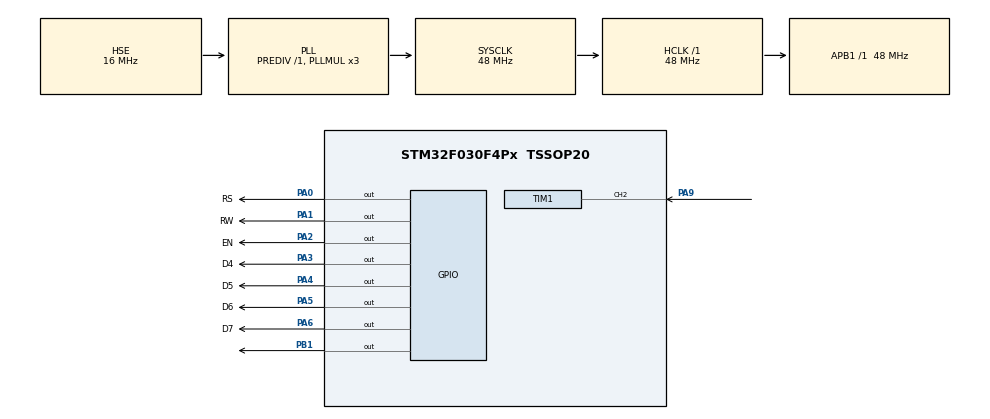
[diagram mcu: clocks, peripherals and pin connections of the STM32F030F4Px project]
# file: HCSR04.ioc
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Mcu.Family=STM32F0
Mcu.Name=STM32F030F4Px
Mcu.Package=TSSOP20
NVIC.TIM1_CC_IRQn=true\:0\:0\:false\:false\:true\:true\:true\:true
PA0.GPIO_Label=RS
PA0.Signal=GPIO_Output
PA1.GPIO_Label=RW
PA1.Signal=GPIO_Output
PA2.GPIO_Label=EN
PA2.Signal=GPIO_Output
PA3.GPIO_Label=D4
PA3.Signal=GPIO_Output
PA4.GPIO_Label=D5
PA4.Signal=GPIO_Output
PA5.GPIO_Label=D6
PA5.Signal=GPIO_Output
PA6.GPIO_Label=D7
PA6.Signal=GPIO_Output
PA9.Signal=S_TIM1_CH2
PB1.Signal=GPIO_Output
PF0-OSC_IN.Mode=HSE-External-Oscillator
PF0-OSC_IN.Signal=RCC_OSC_IN
PF1-OSC_OUT.Mode=HSE-External-Oscillator
PF1-OSC_OUT.Signal=RCC_OSC_OUT
ProjectManager.HeapSize=0x200
ProjectManager.StackSize=0x400
ProjectManager.TargetToolchain=STM32CubeIDE
RCC.AHBFreq_Value=48000000
RCC.APB1Freq_Value=48000000
RCC.APB1TimFreq_Value=48000000
RCC.HCLKFreq_Value=48000000
RCC.HSE_VALUE=16000000
RCC.PLLMUL=RCC_PLL_MUL3
RCC.PLLSourceVirtual=RCC_PLLSOURCE_HSE
RCC.SYSCLKFreq_VALUE=48000000
RCC.SYSCLKSource=RCC_SYSCLKSOURCE_PLLCLK
SH.S_TIM1_CH2.0=TIM1_CH2,Input_Capture2_from_TI2
TIM1.Channel-Input_Capture2_from_TI2=TIM_CHANNEL_2
TIM1.Prescaler=48-1
VP_TIM1_VS_ClockSourceINT.Mode=Internal
board=custom

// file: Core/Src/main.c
/* USER CODE BEGIN Header */
/**
  ******************************************************************************
  * @file           : main.c
  * @brief          : Main program body
  ******************************************************************************
  * @attention
  *
  * Copyright (c) 2024 STMicroelectronics.
  * All rights reserved.
  *
  * This software is licensed under terms that can be found in the LICENSE file
  * in the root directory of this software component.
  * If no LICENSE file comes with this software, it is provided AS-IS.
  *
  ******************************************************************************
  */
/* USER CODE END Header */
#include "main.h"

/* USER CODE BEGIN Includes */
#include "LCD1602.h"
/* USER CODE END Includes */

TIM_HandleTypeDef htim1;

void SystemClock_Config(void);
static void MX_GPIO_Init(void);
static void MX_TIM1_Init(void);

/* USER CODE BEGIN 0 */

void delay_us (uint16_t time)
{
	__HAL_TIM_SET_COUNTER(&htim1, 0);
	while (__HAL_TIM_GET_COUNTER (&htim1) < time);
}

uint32_t IC_Val1 = 0;
uint32_t IC_Val2 = 0;
uint32_t Difference = 0;
uint8_t Is_First_Captured = 0;  // is the first value captured ?
uint8_t Distance  = 0;

#define TRIG_PIN GPIO_PIN_1
#define TRIG_PORT GPIOB

// Let's write the callback function

void HAL_TIM_IC_CaptureCallback(TIM_HandleTypeDef *htim)
{
	if (htim->Channel == HAL_TIM_ACTIVE_CHANNEL_2)  // if the interrupt source is channel2
	{
		if (Is_First_Captured==0) // if the first value is not captured
		{
			IC_Val1 = HAL_TIM_ReadCapturedValue(htim, TIM_CHANNEL_2); // read the first value
			Is_First_Captured = 1;  // set the first captured as true
			// Now change the polarity to falling edge
			__HAL_TIM_SET_CAPTUREPOLARITY(htim, TIM_CHANNEL_2, TIM_INPUTCHANNELPOLARITY_FALLING);
		}

		else if (Is_First_Captured==1)   // if the first is already captured
		{
			IC_Val2 = HAL_TIM_ReadCapturedValue(htim, TIM_CHANNEL_2);  // read second value
			__HAL_TIM_SET_COUNTER(htim, 0);  // reset the counter

			if (IC_Val2 > IC_Val1)
			{
				Difference = IC_Val2-IC_Val1;
			}

			else if (IC_Val1 > IC_Val2)
			{
				Difference = (0xffff - IC_Val1) + IC_Val2;
			}

			/*
			Distance = (Time * Speed)/2;
			speed of sound = 340 m/s = 0.034 cm/us
			Distance = (Time[us] * Speed[cm/us])/2 = distance[us]

			*/

			Distance = Difference * .034/2;
			Is_First_Captured = 0; // set it back to false

			// set polarity to rising edge
			__HAL_TIM_SET_CAPTUREPOLARITY(htim, TIM_CHANNEL_2, TIM_INPUTCHANNELPOLARITY_RISING);
			__HAL_TIM_DISABLE_IT(&htim1, TIM_IT_CC2);
		}
	}
}

void HCSR04_Read (void)
{
	HAL_GPIO_WritePin(TRIG_PORT, TRIG_PIN, GPIO_PIN_SET);  // pull the TRIG pin HIGH
	delay_us(10);  // wait for 10 us
	HAL_GPIO_WritePin(TRIG_PORT, TRIG_PIN, GPIO_PIN_RESET);  // pull the TRIG pin low

	__HAL_TIM_ENABLE_IT(&htim1, TIM_IT_CC2);
}

/* USER CODE END 0 */

int main(void)
{

  /* MCU Configuration--------------------------------------------------------*/

  /* Reset of all peripherals, Initializes the Flash interface and the Systick. */
  HAL_Init();

  /* Configure the system clock */
  SystemClock_Config();

  /* Initialize all configured peripherals */
  MX_GPIO_Init();
  MX_TIM1_Init();
  /* USER CODE BEGIN 2 */
  //lcd_init();
  HAL_TIM_IC_Start_IT(&htim1, TIM_CHANNEL_2);

  HAL_TIM_Base_Start(&htim1);  // Timer On and init this line
  lcd_init();                //LCD init

  lcd_xy(0, 4);   // set curser postion

  LCD_String("Distance");  // Print String
  /* USER CODE END 2 */

  /* Infinite loop */
  while (1)
  {

    /* USER CODE BEGIN 3 */
	  HCSR04_Read ();
	  lcd_xy(1, 7);
	  LCD_intValue(Distance);
	  HAL_Delay(500);
  }
  /* USER CODE END 3 */
}

void SystemClock_Config(void)
{
  RCC_OscInitTypeDef RCC_OscInitStruct = {0};
  RCC_ClkInitTypeDef RCC_ClkInitStruct = {0};

  /** Initializes the RCC Oscillators according to the specified parameters
  * in the RCC_OscInitTypeDef structure.
  */
  RCC_OscInitStruct.OscillatorType = RCC_OSCILLATORTYPE_HSE;
  RCC_OscInitStruct.HSEState = RCC_HSE_ON;
  RCC_OscInitStruct.PLL.PLLState = RCC_PLL_ON;
  RCC_OscInitStruct.PLL.PLLSource = RCC_PLLSOURCE_HSE;
  RCC_OscInitStruct.PLL.PLLMUL = RCC_PLL_MUL3;
  RCC_OscInitStruct.PLL.PREDIV = RCC_PREDIV_DIV1;
  if (HAL_RCC_OscConfig(&RCC_OscInitStruct) != HAL_OK)
  {
    Error_Handler();
  }

  /** Initializes the CPU, AHB and APB buses clocks
  */
  RCC_ClkInitStruct.ClockType = RCC_CLOCKTYPE_HCLK|RCC_CLOCKTYPE_SYSCLK
                              |RCC_CLOCKTYPE_PCLK1;
  RCC_ClkInitStruct.SYSCLKSource = RCC_SYSCLKSOURCE_PLLCLK;
  RCC_ClkInitStruct.AHBCLKDivider = RCC_SYSCLK_DIV1;
  RCC_ClkInitStruct.APB1CLKDivider = RCC_HCLK_DIV1;

  if (HAL_RCC_ClockConfig(&RCC_ClkInitStruct, FLASH_LATENCY_1) != HAL_OK)
  {
    Error_Handler();
  }
}

static void MX_TIM1_Init(void)
{

  TIM_ClockConfigTypeDef sClockSourceConfig = {0};
  TIM_MasterConfigTypeDef sMasterConfig = {0};
  TIM_IC_InitTypeDef sConfigIC = {0};

  htim1.Instance = TIM1;
  htim1.Init.Prescaler = 48-1;
  htim1.Init.CounterMode = TIM_COUNTERMODE_UP;
  htim1.Init.Period = 65535;
  htim1.Init.ClockDivision = TIM_CLOCKDIVISION_DIV1;
  htim1.Init.RepetitionCounter = 0;
  htim1.Init.AutoReloadPreload = TIM_AUTORELOAD_PRELOAD_DISABLE;
  if (HAL_TIM_Base_Init(&htim1) != HAL_OK)
  {
    Error_Handler();
  }
  sClockSourceConfig.ClockSource = TIM_CLOCKSOURCE_INTERNAL;
  if (HAL_TIM_ConfigClockSource(&htim1, &sClockSourceConfig) != HAL_OK)
  {
    Error_Handler();
  }
  if (HAL_TIM_IC_Init(&htim1) != HAL_OK)
  {
    Error_Handler();
  }
  sMasterConfig.MasterOutputTrigger = TIM_TRGO_RESET;
  sMasterConfig.MasterSlaveMode = TIM_MASTERSLAVEMODE_DISABLE;
  if (HAL_TIMEx_MasterConfigSynchronization(&htim1, &sMasterConfig) != HAL_OK)
  {
    Error_Handler();
  }
  sConfigIC.ICPolarity = TIM_INPUTCHANNELPOLARITY_RISING;
  sConfigIC.ICSelection = TIM_ICSELECTION_DIRECTTI;
  sConfigIC.ICPrescaler = TIM_ICPSC_DIV1;
  sConfigIC.ICFilter = 0;
  if (HAL_TIM_IC_ConfigChannel(&htim1, &sConfigIC, TIM_CHANNEL_2) != HAL_OK)
  {
    Error_Handler();
  }

}

static void MX_GPIO_Init(void)
{
  GPIO_InitTypeDef GPIO_InitStruct = {0};

  /* GPIO Ports Clock Enable */
  __HAL_RCC_GPIOF_CLK_ENABLE();
  __HAL_RCC_GPIOA_CLK_ENABLE();
  __HAL_RCC_GPIOB_CLK_ENABLE();

  /*Configure GPIO pin Output Level */
  HAL_GPIO_WritePin(GPIOA, RS_Pin|RW_Pin|EN_Pin|D4_Pin
                          |D5_Pin|D6_Pin|D7_Pin, GPIO_PIN_RESET);

  /*Configure GPIO pin Output Level */
  HAL_GPIO_WritePin(GPIOB, GPIO_PIN_1, GPIO_PIN_RESET);

  /*Configure GPIO pins : RS_Pin RW_Pin EN_Pin D4_Pin
                           D5_Pin D6_Pin D7_Pin */
  GPIO_InitStruct.Pin = RS_Pin|RW_Pin|EN_Pin|D4_Pin
                          |D5_Pin|D6_Pin|D7_Pin;
  GPIO_InitStruct.Mode = GPIO_MODE_OUTPUT_PP;
  GPIO_InitStruct.Pull = GPIO_NOPULL;
  GPIO_InitStruct.Speed = GPIO_SPEED_FREQ_LOW;
  HAL_GPIO_Init(GPIOA, &GPIO_InitStruct);

  /*Configure GPIO pin : PB1 */
  GPIO_InitStruct.Pin = GPIO_PIN_1;
  GPIO_InitStruct.Mode = GPIO_MODE_OUTPUT_PP;
  GPIO_InitStruct.Pull = GPIO_NOPULL;
  GPIO_InitStruct.Speed = GPIO_SPEED_FREQ_LOW;
  HAL_GPIO_Init(GPIOB, &GPIO_InitStruct);

}

void Error_Handler(void)
{
  __disable_irq();
  while (1)
  {
  }
}
